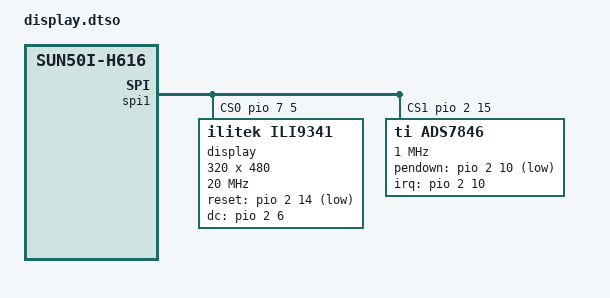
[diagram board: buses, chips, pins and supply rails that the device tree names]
/dts-v1/;
/plugin/;
/ {
    compatible = "allwinner,sun50i-h616";
    fragment@0 {
        target = <&spi1>;
        __overlay__ {
            status = "okay";
        cs-gpios = <&pio 7 5 0>,<&pio 2 15 0>; /*PH5=CS0 for lcd, PC15=CS1 for touch*/
            display: display@0 {
                compatible = "ilitek,ili9341";
                reg = <0>;
                pinctrl-names = "default";
                spi-max-frequency = <20000000>;
                rotate = <270>;
                bgr = <0>;
                fps = <30>;
                buswidth = <8>;
                regwidth = <16>;
                height = <480>;
                width = <320>;
                reset-gpios = <&pio 2 14 1>; /* PC14 */
                dc-gpios = <&pio 2 6 0>; /* PC6 */
                debug = <3>;
                init = <0x10000b0 0x00 // Interface Mode Control
                        0x1000011  // Sleep Out
                        0x20000ff  // Delay (255ms)
                        0x10000C0 0x0D 0x0D  // Power Control 1
                        0x10000C1 0x43  // Power Control 2
                        0x10000C5 0x00 0x48 0x80  // VCOM Control 1
                        0x10000C7 0x00  // VCOM Control 2
                        0x1000036 0x28  // Memory Access Control (Rotacao)
                        0x100003A 0x55  // Pixel Format Set (16bit)
                        0x10000B1 0xB0 0x11  // Frame Rate Control
                        0x10000F0 0x01 // Enable Extended Comand Set
                        0x10000F6 0x00 0x01 0x32 // SPI ilInterface Control
                        0x1000026 0x01 // Gamma Set
                        0x10000E0 0x0F 0x31 0x2B 0x0C 0x0E 0x08 0x4E 0xF1 0x37 0x07 0x10 0x03 0x0E 0x09 0x00  // Positive Gamma Correction
                        0x10000E1 0x00 0x0E 0x14 0x03 0x11 0x07 0x31 0xC1 0x48 0x08 0x0F 0x0C 0x31 0x36 0x0F  // Negative Gamma Correction
                        0x10000B6 0x02 0x02 0x3B  // Display Function Control
                        0x1000011  // Sleep Out
                        0x20000ff  // Delay (255ms)
                        0x1000029>; // Display ON
            };

            ads7846: ads7846@1 {
                compatible = "ti,ads7846";
                reg = <1>;
                pinctrl-names = "default";
                spi-max-frequency = <1000000>;
                interrupt-parent = <&pio>;
                interrupts = <2 10 2>; /* PC10 - IRQ */
                pendown-gpio = <&pio 2 10 1>; /* PC10 */
                
                /* OPTIONS */
                ti,x-min = /bits/ 16 <0>;
                ti,y-min = /bits/ 16 <0>;
        ti,x-max = /bits/ 16 <0xFFF>;
        ti,y-max = /bits/ 16 <0xFFF>;
                ti,pressure-min = /bits/ 16 <0>;
                ti,pressure-max = /bits/ 16 <0xFFF>;
                ti,x-plate-ohms = /bits/ 16 <400>;
                ti,swap-xy = <1>;
        };
        };
    };
};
